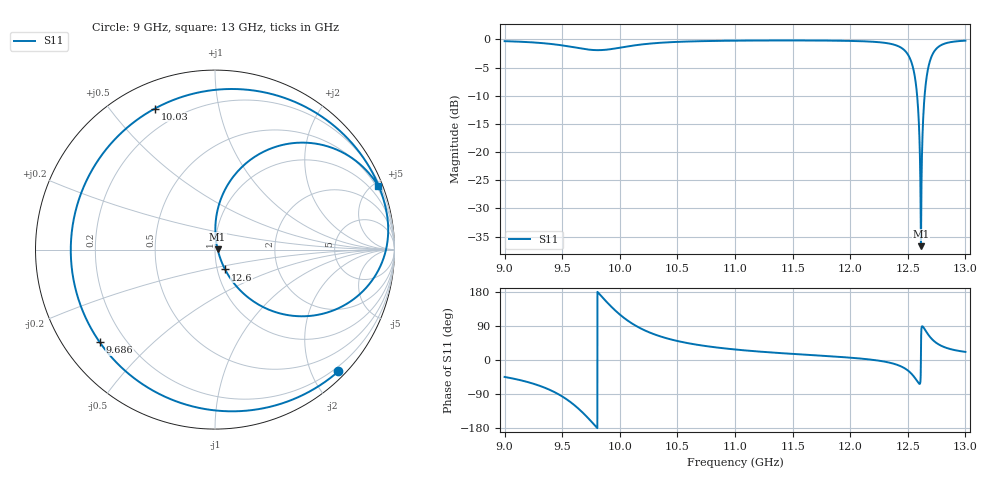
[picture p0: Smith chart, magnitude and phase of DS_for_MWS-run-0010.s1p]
! TOUCHSTONE file generated by CST DESIGN STUDIO
! Date and time: Tue Feb  4 13:42:12 2025
! Project name: C:\Work\MatlabApps\UnitCellOptimizationMatlab\CST\unitcell.cst
! Tree item: Tasks\Sweep1\SPara1\S-Parameters
! Header version: 2024
! Port assignment regex: !\s*Touchstone port\s*([0-9]+)\s*=\s*(CST MWS port|CST DES external port|CST DES block port)\s*(.+)\s* \(\"(.*)\"\)(\s*mode\s*([0-9]+))?.*
! Touchstone port assignment:
! Touchstone port 1 = CST DES external port 1 ("")
# GHz S MA R 50
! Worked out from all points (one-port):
!   4001 points, 9 GHz to 13 GHz, reference 50 ohm
!   lowest |S11| = -36.7 dB at 12.61 GHz (marker M1), VSWR 1.03, Z = 51.5 + j0.218 ohm
!   |S11| at or under -10 dB: 12.58 GHz to 12.65 GHz (64.68 MHz wide, 0.513 % of centre)
!   S11 on the Smith chart (normalised r, x): 9 GHz: 0.12, -2.43; 9.686 GHz: 0.11, -0.35; 10.03 GHz: 0.11, +0.65; 12.6 GHz: 1.09, -0.24; 13 GHz: 0.36, +5.28
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9  0.9657 -44.7
9.275  0.937 -65.0
9.5  0.8858 -96.2
9.597  0.8535 -117.0
9.686  0.824 -141.2
9.763  0.8068 -165.7
9.833  0.8043 170.7
10  0.8447 120.0
10.028  0.8542 113.1
10.127  0.8859 92.5
10.253  0.9171 73.3
10.5  0.9518 50.1
11  0.9753 27.8
11.5  0.9796 16.1
12  0.9706 6.1
12.353  0.9137 -7.8
12.439  0.849 -16.5
12.5  0.7379 -27.5
12.569  0.4124 -50.4
12.586  0.2744 -57.9
12.602  0.1239 -63.1
12.614  0.01464 8.3
12.627  0.1334 89.0
12.641  0.2713 84.0
12.655  0.3962 77.3
12.703  0.6929 57.3
12.812  0.9124 34.6
13  0.9757 21.4
